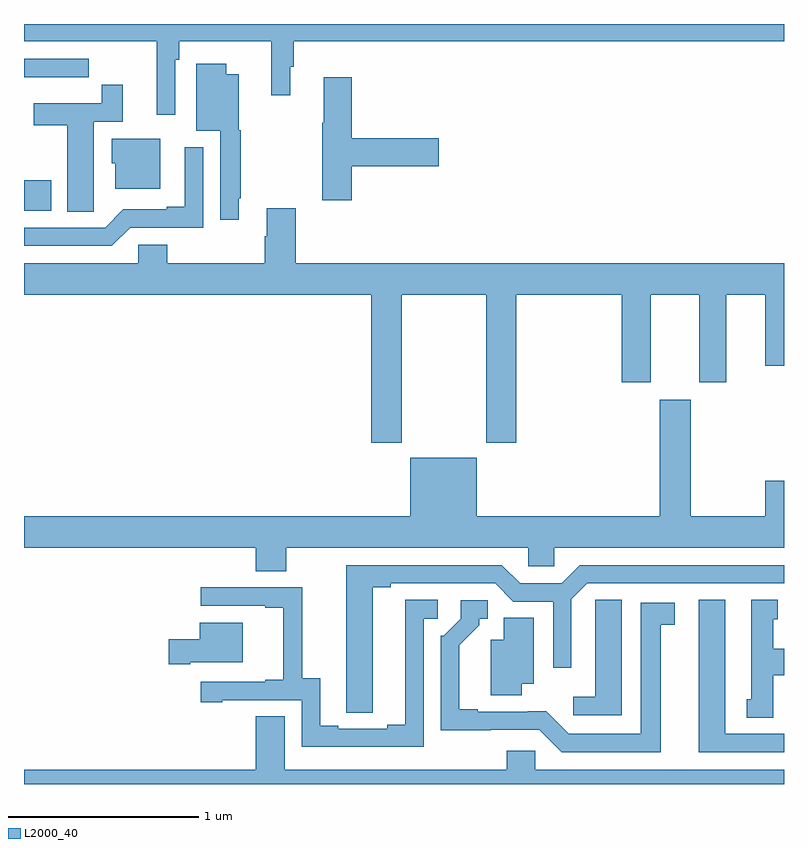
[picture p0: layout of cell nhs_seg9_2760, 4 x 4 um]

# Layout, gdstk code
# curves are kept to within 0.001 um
import gdstk
lib = gdstk.Library(unit=1e-6, precision=1e-09)
def R(c, l, rs):  # rectangles x0, y0, x1, y1
    for r in rs: c.add(gdstk.rectangle(r[:2], r[2:], *l))
def P(c, l, *ps):  # polygons
    for p in ps: c.add(gdstk.Polygon(p, *l))
L2000_40 = (2000, 40)

nhs_seg9_2760 = lib.new_cell('nhs_seg9_2760')
R(nhs_seg9_2760, L2000_40, [(269,1207.517,269.143,1207.677)])
P(nhs_seg9_2760, L2000_40, [(269.796,1208.312),(269.816,1208.312),(269.816,1208.408),(270.301,1208.408),(270.301,1208.124),(270.4,1208.124),(270.4,1208.274),(270.419,1208.274),(270.419,1208.408),(273,1208.408),(273,1208.5),(269,1208.5),(269,1208.408),(269.699,1208.408),(269.699,1208.022),(269.796,1208.022)],
  [(269.228,1208.22),(269.341,1208.22),(269.341,1208.316),(269,1208.316),(269,1208.22),(269.062,1208.22),(269.062,1208.219),(269.228,1208.219)],
  [(270.13,1207.582),(270.142,1207.582),(270.142,1207.941),(270.13,1207.941),(270.13,1208.236),(270.064,1208.236),(270.064,1208.29),(269.906,1208.29),(269.906,1207.937),(270.033,1207.937),(270.033,1207.47),(270.13,1207.47)],
  [(270.725,1207.751),(271.183,1207.751),(271.183,1207.898),(270.725,1207.898),(270.725,1208.221),(270.578,1208.221),(270.578,1207.981),(270.571,1207.981),(270.571,1207.572),(270.725,1207.572)],
  [(269.367,1207.624),(269.368,1207.624),(269.368,1207.986),(269.519,1207.986),(269.519,1208.179),(269.41,1208.179),(269.41,1208.082),(269.051,1208.082),(269.051,1207.966),(269.228,1207.966),(269.228,1207.513),(269.367,1207.513)],
  [(269.716,1207.897),(269.462,1207.897),(269.462,1207.767),(269.48,1207.767),(269.48,1207.634),(269.716,1207.634)],
  [(269.559,1207.428),(269.943,1207.428),(269.943,1207.852),(269.846,1207.852),(269.846,1207.537),(269.75,1207.537),(269.75,1207.524),(269.523,1207.524),(269.427,1207.428),(269,1207.428),(269,1207.332),(269.463,1207.332)],
  [(270.987,1207.076),(271.432,1207.076),(271.432,1206.297),(271.592,1206.297),(271.592,1207.076),(272.147,1207.076),(272.147,1206.615),(272.299,1206.615),(272.299,1207.076),(272.555,1207.076),(272.555,1206.615),(272.695,1206.615),(272.695,1207.076),(272.9,1207.076),(272.9,1206.702),(273,1206.702),(273,1207.24),(270.431,1207.24),(270.431,1207.531),(270.278,1207.531),(270.278,1207.382),(270.266,1207.382),(270.266,1207.24),(269.753,1207.24),(269.753,1207.338),(269.601,1207.338),(269.601,1207.24),(269,1207.24),(269,1207.076),(270.827,1207.076),(270.827,1206.297),(270.987,1206.297)],
  [(270.381,1205.744),(271.653,1205.744),(271.653,1205.646),(271.791,1205.646),(271.791,1205.744),(273,1205.744),(273,1206.097),(272.9,1206.097),(272.9,1205.908),(272.509,1205.908),(272.509,1206.523),(272.345,1206.523),(272.345,1205.908),(271.384,1205.908),(271.384,1206.217),(271.034,1206.217),(271.034,1205.908),(269,1205.908),(269,1205.744),(270.221,1205.744),(270.221,1205.62),(270.381,1205.62)],
  [(270.835,1205.536),(270.931,1205.536),(270.931,1205.556),(271.479,1205.556),(271.575,1205.46),(271.785,1205.46),(271.785,1205.112),(271.881,1205.112),(271.881,1205.472),(271.965,1205.556),(273,1205.556),(273,1205.652),(271.925,1205.652),(271.829,1205.556),(271.611,1205.556),(271.515,1205.652),(270.695,1205.652),(270.696,1204.876),(270.835,1204.876)],
  [(271.104,1205.37),(271.177,1205.37),(271.177,1205.471),(271.007,1205.471),(271.007,1204.811),(270.911,1204.811),(270.911,1204.791),(270.655,1204.791),(270.655,1204.806),(270.559,1204.806),(270.559,1205.057),(270.465,1205.057),(270.465,1205.535),(269.931,1205.535),(269.931,1205.439),(270.269,1205.439),(270.269,1205.427),(270.365,1205.427),(270.365,1205.05),(270.269,1205.05),(270.269,1205.037),(269.931,1205.037),(269.931,1204.929),(270.043,1204.929),(270.043,1204.941),(270.462,1204.941),(270.462,1204.695),(271.104,1204.695)],
  [(272.146,1205.471),(272.007,1205.471),(272.007,1205.363),(272.006,1205.363),(272.006,1204.96),(271.89,1204.96),(271.89,1204.863),(272.146,1204.863)],
  [(273,1204.764),(272.692,1204.764),(272.692,1205.47),(272.552,1205.47),(272.552,1204.668),(273,1204.668)],
  [(272.944,1205.072),(273,1205.072),(273,1205.212),(272.944,1205.212),(272.944,1205.367),(272.968,1205.367),(272.968,1205.47),(272.828,1205.47),(272.828,1204.947),(272.804,1204.947),(272.804,1204.849),(272.944,1204.849)],
  [(272.35,1205.338),(272.425,1205.338),(272.425,1205.454),(272.246,1205.454),(272.246,1204.764),(271.866,1204.764),(271.748,1204.882),(271.387,1204.881),(271.387,1204.894),(271.291,1204.894),(271.291,1205.23),(271.396,1205.335),(271.396,1205.37),(271.441,1205.37),(271.441,1205.466),(271.299,1205.466),(271.299,1205.37),(271.209,1205.28),(271.194,1205.28),(271.194,1204.784),(271.713,1204.785),(271.83,1204.668),(272.35,1204.668)],
  [(271.621,1205.027),(271.684,1205.027),(271.684,1205.375),(271.526,1205.375),(271.526,1205.26),(271.457,1205.26),(271.457,1204.966),(271.621,1204.966)],
  [(269.875,1205.141),(270.151,1205.141),(270.151,1205.35),(269.924,1205.35),(269.924,1205.263),(269.763,1205.263),(269.763,1205.129),(269.875,1205.129)],
  [(273,1204.576),(271.692,1204.576),(271.692,1204.674),(271.541,1204.674),(271.541,1204.576),(270.373,1204.576),(270.373,1204.856),(270.221,1204.856),(270.221,1204.576),(269,1204.576),(269,1204.5),(273,1204.5)])

lib.write_gds('nhs_seg9_2760.gds')
